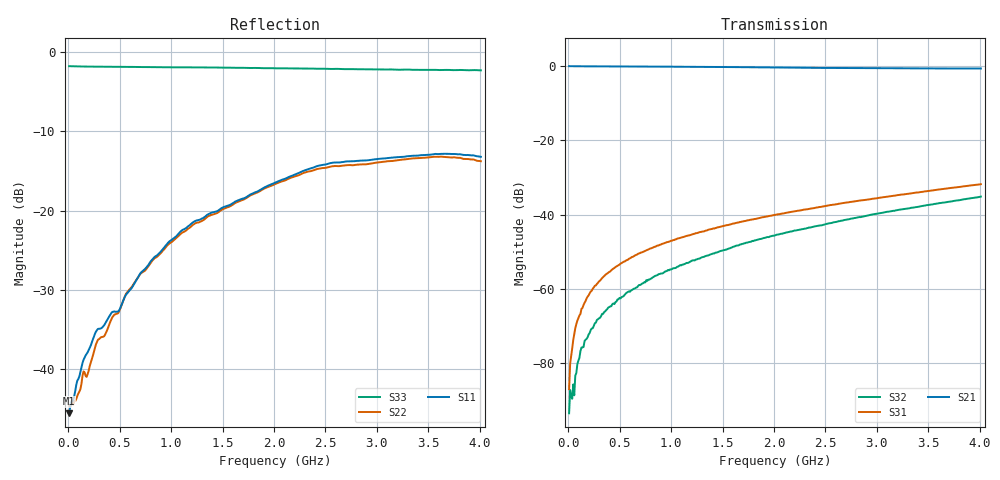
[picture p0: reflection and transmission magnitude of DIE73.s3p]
!Keysight Technologies,N5232A,MY52221226,A.10.49.03
!Date: Wednesday, April 13, 2016 21:46:12
!Correction: S11(Full 6 Port(1,2,3,4,5,6))
!S12(Full 6 Port(1,2,3,4,5,6))
!S13(Full 6 Port(1,2,3,4,5,6))
!S21(Full 6 Port(1,2,3,4,5,6))
!S22(Full 6 Port(1,2,3,4,5,6))
!S23(Full 6 Port(1,2,3,4,5,6))
!S31(Full 6 Port(1,2,3,4,5,6))
!S32(Full 6 Port(1,2,3,4,5,6))
!S33(Full 6 Port(1,2,3,4,5,6))
!S3P File: Measurements: <S11,S12,S13>,
!<S21,S22,S23>,
!<S31,S32,S33>:
# Hz S  dB  R 50
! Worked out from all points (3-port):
!   401 points, 10 MHz to 4.01 GHz, reference 50 ohm
!   strongest paths, dB at 10 MHz, 1.01 GHz, 2.01 GHz, 3.01 GHz, 4.01 GHz:
!     S21: -0.1, -0.3, -0.5, -0.7, -0.7
!     S31: -86.9, -47.0, -40.1, -35.5, -31.8
!     S32: -93.4, -54.6, -45.6, -39.7, -35.2
!   lowest |S11| = -45.6 dB at 10 MHz (marker M1), VSWR 1.01, Z = 50.5 - j0.104 ohm
!   |S11| at or under -10 dB: start of sweep to end of sweep
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1e7  -45.59 -11.3  -0.10 -0.9  -84.70 60.7
     -0.11 -0.8  -44.58 -8.5  -90.34 15.1
     -86.94 51.6  -93.41 72.3  -1.77 179.2
8e7  -41.97 -30.5  -0.13 -6.4  -70.03 85.4
     -0.13 -6.4  -43.77 -37.4  -80.19 83.8
     -69.44 83.9  -82.61 80.8  -1.79 173.8
1.7e8  -38.29 -62.1  -0.15 -13.4  -63.15 79.4
       -0.15 -13.4  -40.86 -80.6  -73.41 87.0
       -63.21 79.1  -73.63 85.9  -1.82 167.0
4.5e8  -32.72 -104.7  -0.18 -35.1  -54.34 63.9
       -0.18 -35.1  -33.13 -109.9  -63.64 80.2
       -54.34 63.7  -64.06 80.7  -1.84 146.1
1.21e9  -21.51 -177.7  -0.29 -93.9  -45.35 17.6
        -0.29 -93.9  -21.83 -179.5  -52.35 39.7
        -45.30 18.0  -52.32 39.7  -1.93 90.1
2.01e9  -16.47 115.0  -0.45 -155.5  -40.12 -32.2
        -0.45 -155.5  -16.65 115.4  -45.51 -10.5
        -40.08 -32.3  -45.59 -11.1  -2.04 32.0
2.55e9  -14.00 77.1  -0.59 163.1  -37.46 -67.3
        -0.60 163.2  -14.44 71.3  -42.29 -47.2
        -37.42 -67.2  -42.29 -47.5  -2.12 -7.4
3.15e9  -13.31 29.5  -0.66 117.4  -34.99 -107.3
        -0.67 117.4  -13.74 25.3  -39.06 -88.5
        -34.98 -107.8  -39.04 -89.0  -2.18 -52.0
3.57e9  -12.85 -2.6  -0.72 85.2  -33.43 -136.3
        -0.71 85.2  -13.20 -7.8  -37.16 -119.6
        -33.38 -136.5  -37.12 -120.0  -2.23 -83.7
4.01e9  -13.21 -32.9  -0.73 51.4  -31.84 -167.7
        -0.73 51.4  -13.77 -40.1  -35.18 -151.9
        -31.83 -167.5  -35.17 -152.0  -2.30 -117.8
